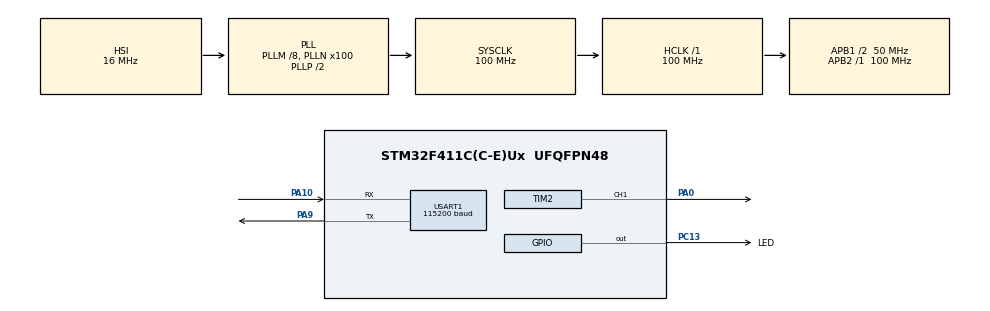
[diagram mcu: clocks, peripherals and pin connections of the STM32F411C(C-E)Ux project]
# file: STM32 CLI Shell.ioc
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ADC1.Channel-0\#ChannelRegularConversion=ADC_CHANNEL_TEMPSENSOR
ADC1.DiscontinuousConvMode=ENABLE
ADC1.NbrOfConversionFlag=1
ADC1.Rank-0\#ChannelRegularConversion=1
ADC1.SamplingTime-0\#ChannelRegularConversion=ADC_SAMPLETIME_480CYCLES
ADC1.ScanConvMode=ENABLE
ADC1.master=1
Dma.Request0=USART1_RX
Dma.USART1_RX.0.Direction=DMA_PERIPH_TO_MEMORY
Dma.USART1_RX.0.FIFOMode=DMA_FIFOMODE_DISABLE
Dma.USART1_RX.0.Instance=DMA2_Stream2
Dma.USART1_RX.0.MemDataAlignment=DMA_MDATAALIGN_BYTE
Dma.USART1_RX.0.MemInc=DMA_MINC_ENABLE
Dma.USART1_RX.0.Mode=DMA_CIRCULAR
Dma.USART1_RX.0.PeriphDataAlignment=DMA_PDATAALIGN_BYTE
Dma.USART1_RX.0.PeriphInc=DMA_PINC_DISABLE
Dma.USART1_RX.0.Priority=DMA_PRIORITY_LOW
FREERTOS.Tasks01=defaultTask,24,128,StartDefaultTask,Default,NULL,Dynamic,NULL,NULL
FREERTOS.configGENERATE_RUN_TIME_STATS=1
FREERTOS.configUSE_STATS_FORMATTING_FUNCTIONS=1
Mcu.Family=STM32F4
Mcu.Name=STM32F411C(C-E)Ux
Mcu.Package=UFQFPN48
NVIC.DMA2_Stream2_IRQn=true\:5\:0\:false\:false\:true\:true\:false\:true\:true
NVIC.PriorityGroup=NVIC_PRIORITYGROUP_4
NVIC.TIM1_UP_TIM10_IRQn=true\:15\:0\:false\:false\:true\:false\:false\:true\:true
NVIC.TimeBase=TIM1_UP_TIM10_IRQn
NVIC.TimeBaseIP=TIM1
NVIC.USART1_IRQn=true\:5\:0\:false\:false\:true\:true\:true\:true\:true
PA0-WKUP.Signal=S_TIM2_CH1_ETR
PA10.Mode=Asynchronous
PA10.Signal=USART1_RX
PA13.Mode=Serial_Wire
PA13.Signal=SYS_JTMS-SWDIO
PA14.Mode=Serial_Wire
PA14.Signal=SYS_JTCK-SWCLK
PA9.Mode=Asynchronous
PA9.Signal=USART1_TX
PC13-ANTI_TAMP.GPIO_Label=LED
PC13-ANTI_TAMP.PinState=GPIO_PIN_SET
PC13-ANTI_TAMP.Signal=GPIO_Output
PC14-OSC32_IN.Mode=LSE-External-Oscillator
PC14-OSC32_IN.Signal=RCC_OSC32_IN
PC15-OSC32_OUT.Mode=LSE-External-Oscillator
PC15-OSC32_OUT.Signal=RCC_OSC32_OUT
PH0\ -\ OSC_IN.Mode=HSE-External-Oscillator
PH0\ -\ OSC_IN.Signal=RCC_OSC_IN
PH1\ -\ OSC_OUT.Mode=HSE-External-Oscillator
PH1\ -\ OSC_OUT.Signal=RCC_OSC_OUT
ProjectManager.HeapSize=0x200
ProjectManager.StackSize=0x400
ProjectManager.TargetToolchain=MDK-ARM V5.32
RCC.48MHZClocksFreq_Value=50000000
RCC.AHBFreq_Value=100000000
RCC.APB1CLKDivider=RCC_HCLK_DIV2
RCC.APB1Freq_Value=50000000
RCC.APB1TimFreq_Value=100000000
RCC.APB2Freq_Value=100000000
RCC.APB2TimFreq_Value=100000000
RCC.CortexFreq_Value=100000000
RCC.HCLKFreq_Value=100000000
RCC.HSE_VALUE=25000000
RCC.HSI_VALUE=16000000
RCC.PLLM=8
RCC.PLLN=100
RCC.SYSCLKFreq_VALUE=100000000
RCC.SYSCLKSource=RCC_SYSCLKSOURCE_PLLCLK
RCC.VCOOutputFreq_Value=200000000
SH.S_TIM2_CH1_ETR.0=TIM2_CH1,PWM Generation1 CH1
TIM2.Channel-PWM\ Generation1\ CH1=TIM_CHANNEL_1
TIM2.Period=19999
TIM2.Prescaler=99
TIM2.Pulse-PWM\ Generation1\ CH1=0
USART1.BaudRate=115200
USART1.VirtualMode=VM_ASYNC
VP_ADC1_TempSens_Input.Mode=IN-TempSens
VP_ADC1_Vref_Input.Mode=IN-Vrefint
VP_FREERTOS_VS_CMSIS_V2.Mode=CMSIS_V2
VP_SYS_VS_tim1.Mode=TIM1
VP_TIM2_VS_ClockSourceINT.Mode=Internal
board=custom

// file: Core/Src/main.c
/* USER CODE BEGIN Header */
/**
  ******************************************************************************
  * @file           : main.c
  * @brief          : Main program body
  ******************************************************************************
  * @attention
  *
  * Copyright (c) 2025 STMicroelectronics.
  * All rights reserved.
  *
  * This software is licensed under terms that can be found in the LICENSE file
  * in the root directory of this software component.
  * If no LICENSE file comes with this software, it is provided AS-IS.
  *
  ******************************************************************************
  */
/* USER CODE END Header */
#include "main.h"
#include "cmsis_os.h"
#include "adc.h"
#include "dma.h"
#include "tim.h"
#include "usart.h"
#include "gpio.h"

void SystemClock_Config(void);
void MX_FREERTOS_Init(void);

int main(void)
{

  /* MCU Configuration--------------------------------------------------------*/

  /* Reset of all peripherals, Initializes the Flash interface and the Systick. */
  HAL_Init();

  /* Configure the system clock */
  SystemClock_Config();

  /* Initialize all configured peripherals */
  MX_GPIO_Init();
  MX_DMA_Init();
  MX_USART1_UART_Init();
  MX_ADC1_Init();
  MX_TIM2_Init();

  /* Init scheduler */
  osKernelInitialize();  /* Call init function for freertos objects (in cmsis_os2.c) */
  MX_FREERTOS_Init();

  /* Start scheduler */
  osKernelStart();

  /* We should never get here as control is now taken by the scheduler */

  /* Infinite loop */
  while (1)
  {

  }
}

void SystemClock_Config(void)
{
  RCC_OscInitTypeDef RCC_OscInitStruct = {0};
  RCC_ClkInitTypeDef RCC_ClkInitStruct = {0};

  /** Configure the main internal regulator output voltage
  */
  __HAL_RCC_PWR_CLK_ENABLE();
  __HAL_PWR_VOLTAGESCALING_CONFIG(PWR_REGULATOR_VOLTAGE_SCALE1);

  /** Initializes the RCC Oscillators according to the specified parameters
  * in the RCC_OscInitTypeDef structure.
  */
  RCC_OscInitStruct.OscillatorType = RCC_OSCILLATORTYPE_HSI;
  RCC_OscInitStruct.HSIState = RCC_HSI_ON;
  RCC_OscInitStruct.HSICalibrationValue = RCC_HSICALIBRATION_DEFAULT;
  RCC_OscInitStruct.PLL.PLLState = RCC_PLL_ON;
  RCC_OscInitStruct.PLL.PLLSource = RCC_PLLSOURCE_HSI;
  RCC_OscInitStruct.PLL.PLLM = 8;
  RCC_OscInitStruct.PLL.PLLN = 100;
  RCC_OscInitStruct.PLL.PLLP = RCC_PLLP_DIV2;
  RCC_OscInitStruct.PLL.PLLQ = 4;
  if (HAL_RCC_OscConfig(&RCC_OscInitStruct) != HAL_OK)
  {
    Error_Handler();
  }

  /** Initializes the CPU, AHB and APB buses clocks
  */
  RCC_ClkInitStruct.ClockType = RCC_CLOCKTYPE_HCLK|RCC_CLOCKTYPE_SYSCLK
                              |RCC_CLOCKTYPE_PCLK1|RCC_CLOCKTYPE_PCLK2;
  RCC_ClkInitStruct.SYSCLKSource = RCC_SYSCLKSOURCE_PLLCLK;
  RCC_ClkInitStruct.AHBCLKDivider = RCC_SYSCLK_DIV1;
  RCC_ClkInitStruct.APB1CLKDivider = RCC_HCLK_DIV2;
  RCC_ClkInitStruct.APB2CLKDivider = RCC_HCLK_DIV1;

  if (HAL_RCC_ClockConfig(&RCC_ClkInitStruct, FLASH_LATENCY_3) != HAL_OK)
  {
    Error_Handler();
  }
}

/* USER CODE BEGIN 4 */
// --- 这一段是给 FreeRTOS 统计用的 DWT 驱动 ---

// 寄存器定义
volatile uint32_t *DWT_CYCCNT   = (uint32_t *)0xE0001004; // 周期计数
volatile uint32_t *DWT_CONTROL  = (uint32_t *)0xE0001000; // DWT控制
volatile uint32_t *SCB_DEMCR    = (uint32_t *)0xE000EDFC; // 调试控制

// 1. 初始化计数器 (被 FreeRTOS 自动调用)
void configureTimerForRunTimeStats(void)
{
    // 开启 DWT 外设
    *SCB_DEMCR |= 0x01000000;
    // 清零计数器
    *DWT_CYCCNT = 0;
    // 启动计数
    *DWT_CONTROL |= 1;
}

// 2. 获取当前时间值 (被 FreeRTOS 自动调用)
unsigned long getRunTimeCounterValue(void)
{
    // 方案：除以 1000
    // 100MHz / 1000 = 100kHz (10us 精度)
    // 溢出时间延长到：42亿 / (10万 * 100) = 420秒 (7分钟)

    // 如果想要更久，可以除以 10000 (70分钟)
   return (*DWT_CYCCNT) >> 4;
}

/* USER CODE END 4 */

void HAL_TIM_PeriodElapsedCallback(TIM_HandleTypeDef *htim)
{
  if (htim->Instance == TIM1)
  {
    HAL_IncTick();
  }
}

void Error_Handler(void)
{
  __disable_irq();
  while (1)
  {
  }
}

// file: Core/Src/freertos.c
/* USER CODE BEGIN Header */
/**
 ******************************************************************************
 * File Name          : freertos.c
 * Description        : Code for freertos applications
 ******************************************************************************
 * @attention
 *
 * Copyright (c) 2025 STMicroelectronics.
 * All rights reserved.
 *
 * This software is licensed under terms that can be found in the LICENSE file
 * in the root directory of this software component.
 * If no LICENSE file comes with this software, it is provided AS-IS.
 *
 ******************************************************************************
 */
/* USER CODE END Header */

#include "FreeRTOS.h"
#include "task.h"
#include "main.h"
#include "cmsis_os.h"

/* USER CODE BEGIN Includes */
#include "elog.h"
#include "app_usart_task.h"
/* USER CODE END Includes */

/* USER CODE BEGIN PTD */
#define LOG_TAG_D "Default_LOG"

/* USER CODE END PTD */

/* USER CODE BEGIN Variables */
osThreadId_t uartparseTaskHandle;
const osThreadAttr_t uartparseTask_attributes = {
    .name = "uartparseTask",
    .stack_size = 512 * 4,
    .priority = (osPriority_t)osPriorityNormal,
};
volatile uint8_t g_cpu_load_enable = 0;
/* USER CODE END Variables */
/* Definitions for defaultTask */
osThreadId_t defaultTaskHandle;
const osThreadAttr_t defaultTask_attributes = {
    .name = "defaultTask",
    .stack_size = 256 * 4,
    .priority = (osPriority_t)osPriorityNormal,
};

void StartDefaultTask(void *argument);

void MX_FREERTOS_Init(void); /* (MISRA C 2004 rule 8.1) */

/* Hook prototypes */
void configureTimerForRunTimeStats(void);
unsigned long getRunTimeCounterValue(void);

/* USER CODE BEGIN 1 */
/* Functions needed when configGENERATE_RUN_TIME_STATS is on */
__weak void configureTimerForRunTimeStats(void)
{
}

__weak unsigned long getRunTimeCounterValue(void)
{
  return 0;
}
/* USER CODE END 1 */

void MX_FREERTOS_Init(void)
{
  /* USER CODE BEGIN Init */
  elog_init();
  elog_set_fmt(ELOG_LVL_INFO, ELOG_FMT_TAG | ELOG_FMT_TIME | ELOG_FMT_DIR);
  elog_set_fmt(ELOG_LVL_WARN, ELOG_FMT_TAG | ELOG_FMT_TIME | ELOG_FMT_DIR);
  elog_start();
  /* USER CODE END Init */

  /* Create the thread(s) */
  /* creation of defaultTask */
  defaultTaskHandle = osThreadNew(StartDefaultTask, NULL, &defaultTask_attributes);

  /* USER CODE BEGIN RTOS_THREADS */
  /* add threads, ... */
  uartparseTaskHandle = osThreadNew(UartParseTask, NULL, &uartparseTask_attributes);
  /* USER CODE END RTOS_THREADS */

}

void StartDefaultTask(void *argument)
{
  /* USER CODE BEGIN StartDefaultTask */
  TickType_t startTick = xTaskGetTickCount();
  elog_i(LOG_TAG_D, "[%lu]StartDefaultTask success", startTick);

  /* Infinite loop */
  for (;;)
  {
    if (g_cpu_load_enable == 1)
    {
      // --- 模拟高负载 ---
      // 执行一些毫无意义的计算来消耗 CPU 时间
      // 这种纯计算循环不会让出 CPU，直到时间片用完
      uint32_t i;
      for (i = 0; i < 500000; i++)
      {
        __NOP(); // 空指令
      }
      // 稍微休息一下（1ms），防止把 CLI 任务彻底饿死，
      // 否则你连输命令的机会都没有了！
      osDelay(1);
    }
    else
    {
      // --- 正常模式 (低负载) ---
      // 大部分时间都在睡觉
      osDelay(100);
    }
  }
  /* USER CODE END StartDefaultTask */
}
